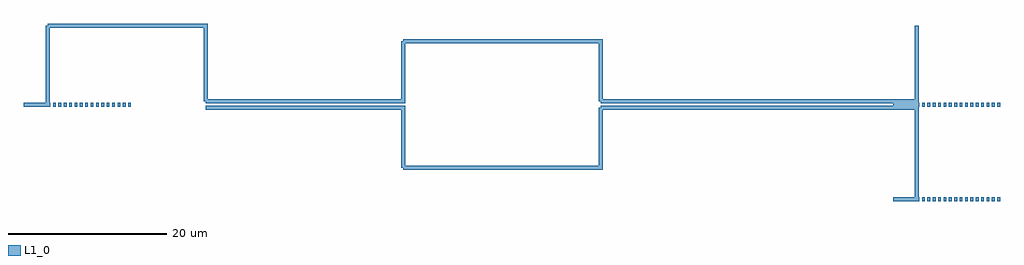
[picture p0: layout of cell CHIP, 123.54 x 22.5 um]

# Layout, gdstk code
import gdstk
lib = gdstk.Library(unit=1e-6, precision=1e-09)
def R(c, l, rs):  # rectangles x0, y0, x1, y1
    for r in rs: c.add(gdstk.rectangle(r[:2], r[2:], *l))
def A(c, l, x, y, w, h, nx, ny, dx, dy):  # array of equal rectangles
    R(c, l, [(x+i*dx, y+j*dy, x+i*dx+w, y+j*dy+h) for i in range(nx) for j in range(ny)])
L1_0 = (1, 0)

chip = lib.new_cell('CHIP')
A(chip, L1_0, 110, -12.25, 0.34, 0.5, 16, 2, 0.68, 12)
A(chip, L1_0, 0, -0.25, 0.34, 0.5, 16, 1, 0.68, 0)
chip.add(gdstk.FlexPath([(0,0),(0,10)], 0.5, ends="flush", simple_path=True, layer=1, datatype=0))  # L1_0
chip.add(gdstk.FlexPath([(110,0),(110,10)], 0.5, ends="flush", simple_path=True, layer=1, datatype=0))  # L1_0
chip.add(gdstk.FlexPath([(110,-12),(110,-2)], 0.5, ends="flush", simple_path=True, layer=1, datatype=0))  # L1_0
chip.add(gdstk.FlexPath([(20,0.4),(30,0.4)], 0.5, ends="flush", simple_path=True, layer=1, datatype=0))  # L1_0
chip.add(gdstk.FlexPath([(20,-0.4),(30,-0.4)], 0.5, ends="flush", simple_path=True, layer=1, datatype=0))  # L1_0
chip.add(gdstk.FlexPath([(70,0.4),(80,0.4)], 0.5, ends="flush", simple_path=True, layer=1, datatype=0))  # L1_0
chip.add(gdstk.FlexPath([(70,-0.4),(80,-0.4)], 0.5, ends="flush", simple_path=True, layer=1, datatype=0))  # L1_0
chip.add(gdstk.FlexPath([(45,8),(55,8)], 0.5, ends="flush", simple_path=True, layer=1, datatype=0))  # L1_0
chip.add(gdstk.FlexPath([(45,-8),(55,-8)], 0.5, ends="flush", simple_path=True, layer=1, datatype=0))  # L1_0
chip.add(gdstk.FlexPath([(0,10),(20,10),(20,0.4)], 0.5, ends="flush", simple_path=True, layer=1, datatype=0))  # L1_0
chip.add(gdstk.FlexPath([(30,0.4),(45,0.4),(45,8)], 0.5, ends="flush", simple_path=True, layer=1, datatype=0))  # L1_0
chip.add(gdstk.FlexPath([(55,8),(70,8),(70,0.4)], 0.5, ends="flush", simple_path=True, layer=1, datatype=0))  # L1_0
chip.add(gdstk.FlexPath([(30,-0.4),(45,-0.4),(45,-8)], 0.5, ends="flush", simple_path=True, layer=1, datatype=0))  # L1_0
chip.add(gdstk.FlexPath([(55,-8),(70,-8),(70,-0.4)], 0.5, ends="flush", simple_path=True, layer=1, datatype=0))  # L1_0
chip.add(gdstk.FlexPath([(80,0.4),(110,0.4),(110,10)], 0.5, ends="flush", simple_path=True, layer=1, datatype=0))  # L1_0
chip.add(gdstk.FlexPath([(80,-0.4),(110,-0.4),(110,-2)], 0.5, ends="flush", simple_path=True, layer=1, datatype=0))  # L1_0
chip.add(gdstk.FlexPath([(-3,0),(0,0)], 0.5, ends="flush", simple_path=True, layer=1, datatype=0))  # L1_0
chip.add(gdstk.FlexPath([(107,0),(110,0)], 0.5, ends="flush", simple_path=True, layer=1, datatype=0))  # L1_0
chip.add(gdstk.FlexPath([(107,-12),(110,-12)], 0.5, ends="flush", simple_path=True, layer=1, datatype=0))  # L1_0

lib.write_gds('CHIP.gds')
